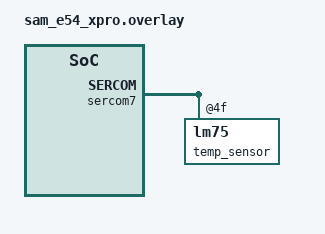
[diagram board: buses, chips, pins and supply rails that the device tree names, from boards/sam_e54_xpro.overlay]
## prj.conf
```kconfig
CONFIG_GPIO=y
CONFIG_SHELL=y
CONFIG_I2C=y
CONFIG_I2C_SHELL=y
CONFIG_SENSOR=y
CONFIG_SENSOR_SHELL=y
CONFIG_LM75=y
```

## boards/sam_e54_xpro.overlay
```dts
&sercom7 {
    /* sercom7 is enabled as I2C in the base DTS. */
    #address-cells = <1>;
    #size-cells = <0>;

    temp_sensor: lm75@4f {
        compatible = "lm75";
        reg = <0x4f>;
        status = "okay";
    };
};
```

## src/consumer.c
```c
#include <zephyr/kernel.h>
#include "consumer.h"

void consumerThread(void*, void*inMsgQueue, void*){
	struct k_msgq *notifyMsgQueue = (struct k_msgq*)inMsgQueue;
	uint32_t data = 0;

	while (1) {
           k_msgq_get(notifyMsgQueue, &data, K_FOREVER);
	}
}
```
